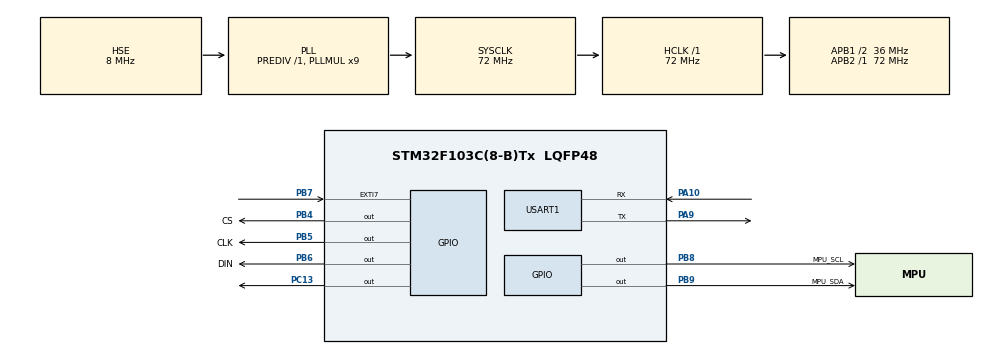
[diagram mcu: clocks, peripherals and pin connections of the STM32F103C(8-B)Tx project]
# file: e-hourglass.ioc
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Mcu.Family=STM32F1
Mcu.Name=STM32F103C(8-B)Tx
Mcu.Package=LQFP48
NVIC.PriorityGroup=NVIC_PRIORITYGROUP_4
PA10.Mode=Asynchronous
PA10.Signal=USART1_RX
PA13.Mode=Serial_Wire
PA13.Signal=SYS_JTMS-SWDIO
PA14.Mode=Serial_Wire
PA14.Signal=SYS_JTCK-SWCLK
PA9.Mode=Asynchronous
PA9.Signal=USART1_TX
PB4.GPIO_Label=CS
PB4.GPIO_Speed=GPIO_SPEED_FREQ_HIGH
PB4.Signal=GPIO_Output
PB5.GPIO_Label=CLK
PB5.GPIO_Speed=GPIO_SPEED_FREQ_HIGH
PB5.Signal=GPIO_Output
PB6.GPIO_Label=DIN
PB6.GPIO_Speed=GPIO_SPEED_FREQ_HIGH
PB6.Signal=GPIO_Output
PB7.Signal=GPXTI7
PB8.GPIO_Label=MPU_SCL
PB8.GPIO_ModeDefaultOutputPP=GPIO_MODE_OUTPUT_OD
PB8.GPIO_PuPd=GPIO_NOPULL
PB8.GPIO_Speed=GPIO_SPEED_FREQ_HIGH
PB8.Signal=GPIO_Output
PB9.GPIO_Label=MPU_SDA
PB9.GPIO_ModeDefaultOutputPP=GPIO_MODE_OUTPUT_OD
PB9.GPIO_PuPd=GPIO_NOPULL
PB9.GPIO_Speed=GPIO_SPEED_FREQ_HIGH
PB9.Signal=GPIO_Output
PC13-TAMPER-RTC.Signal=GPIO_Output
PC14-OSC32_IN.Mode=LSE-External-Oscillator
PC14-OSC32_IN.Signal=RCC_OSC32_IN
PC15-OSC32_OUT.Mode=LSE-External-Oscillator
PC15-OSC32_OUT.Signal=RCC_OSC32_OUT
PD0-OSC_IN.Mode=HSE-External-Oscillator
PD0-OSC_IN.Signal=RCC_OSC_IN
PD1-OSC_OUT.Mode=HSE-External-Oscillator
PD1-OSC_OUT.Signal=RCC_OSC_OUT
ProjectManager.HeapSize=0x200
ProjectManager.StackSize=0x400
ProjectManager.TargetToolchain=MDK-ARM V5.32
RCC.AHBFreq_Value=72000000
RCC.APB1CLKDivider=RCC_HCLK_DIV2
RCC.APB1Freq_Value=36000000
RCC.APB1TimFreq_Value=72000000
RCC.APB2Freq_Value=72000000
RCC.APB2TimFreq_Value=72000000
RCC.HCLKFreq_Value=72000000
RCC.PLLMUL=RCC_PLL_MUL9
RCC.PLLSourceVirtual=RCC_PLLSOURCE_HSE
RCC.SYSCLKFreq_VALUE=72000000
RCC.SYSCLKSource=RCC_SYSCLKSOURCE_PLLCLK
RCC.USBFreq_Value=72000000
USART1.VirtualMode=VM_ASYNC
board=custom

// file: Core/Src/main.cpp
/* USER CODE BEGIN Header */
/**
 ******************************************************************************
 * @file           : main.c
 * @brief          : Main program body
 ******************************************************************************
 * @attention
 *
 * Copyright (c) 2024 STMicroelectronics.
 * All rights reserved.
 *
 * This software is licensed under terms that can be found in the LICENSE file
 * in the root directory of this software component.
 * If no LICENSE file comes with this software, it is provided AS-IS.
 *
 ******************************************************************************
 */
/* USER CODE END Header */
#include "main.h"

/* USER CODE BEGIN Includes */
#include "IIC.h"
#include "inv_mpu.h"
#include "inv_mpu_dmp_motion_driver.h"
#include "mpu6050.h"
#include <stdarg.h>
#include "stdio.h"
#include "8x8led.h"
#include "Animation.hpp"
/* USER CODE END Includes */

/* USER CODE BEGIN PD */
#define MAX_SAND_COUNT 7
/* USER CODE END PD */

UART_HandleTypeDef huart1;

/* USER CODE BEGIN PV */
float pitch, roll, yaw;
short gyrox, gyroy, gyroz;
short aacx, aacy, aacz;

//计数，没记10次就更新一次
int count = 0;
/* USER CODE END PV */

void SystemClock_Config(void);
static void MX_GPIO_Init(void);
static void MX_USART1_UART_Init(void);

int main(void)
{

  /* MCU Configuration--------------------------------------------------------*/

  /* Reset of all peripherals, Initializes the Flash interface and the Systick. */
  HAL_Init();

  /* Configure the system clock */
  SystemClock_Config();

  /* Initialize all configured peripherals */
  MX_GPIO_Init();
  MX_USART1_UART_Init();
  /* USER CODE BEGIN 2 */
  MPU_Init();
  mpu_dmp_init();

  GC7219_INIT();

  // 使用LEDMatrix类构造函数初始化一个对象
  LEDMatrix matrix;
  matrix.clear();

  Sand sands[MAX_SAND_COUNT] = {
      // Sand(0, 0, &matrix),
      // Sand(1, 0, &matrix),
      // Sand(2, 0, &matrix),
      // Sand(3, 0, &matrix),
      // Sand(0, 1, &matrix),
      // Sand(0, 2, &matrix),
      // Sand(0, 3, &matrix),
      Sand(7, 15, &matrix),
      Sand(6, 15, &matrix),
      Sand(5, 15, &matrix),
      Sand(7, 14, &matrix),
      Sand(7, 13, &matrix),
      Sand(7, 12, &matrix),
      Sand(4, 15, &matrix),
    };

  matrix.refresh();

  /* USER CODE END 2 */

  /* Infinite loop */
  /* USER CODE BEGIN WHILE */
  while (1)
  {
    // 欧拉角 前pitch正增 后pitch负增 左roll正增 右roll负增
    mpu_dmp_get_data(&pitch, &roll, &yaw);

    HAL_Delay(100);

    // 如果pitch roll 大于20或小于-20，只要满足一个，就会点亮PC13,否则熄灭
    if (pitch > 20 || pitch < -20 || roll > 20 || roll < -20)
    {
      HAL_GPIO_WritePin(GPIOC, GPIO_PIN_13, GPIO_PIN_RESET);
    }
    else
    {
      HAL_GPIO_WritePin(GPIOC, GPIO_PIN_13, GPIO_PIN_SET);
    }

    count++;
    if (count ==10)
    {
      //在这里更新动画
      // sands[0].moveDown();
      // sands[1].moveLeft();
      for(int i = 0; i < MAX_SAND_COUNT; i++)
      {
        //sands[i].moveUpRight();
        //sands[i].moveUp();
        //sands[i].moveLeft();
        //sands[i].moveRight();
        sands[i].moveUpLeft();
        //sands[i].moveDownRight();
        //sands[i].moveDownLeft();
        //sands[i].moveDown();
        sands[i].updatePosition();
      }
      matrix.refresh();
      count = 0;
    }

    /* USER CODE END WHILE */

  }
}

void SystemClock_Config(void)
{
  RCC_OscInitTypeDef RCC_OscInitStruct = {0};
  RCC_ClkInitTypeDef RCC_ClkInitStruct = {0};

  /** Initializes the RCC Oscillators according to the specified parameters
   * in the RCC_OscInitTypeDef structure.
   */
  RCC_OscInitStruct.OscillatorType = RCC_OSCILLATORTYPE_HSE;
  RCC_OscInitStruct.HSEState = RCC_HSE_ON;
  RCC_OscInitStruct.HSEPredivValue = RCC_HSE_PREDIV_DIV1;
  RCC_OscInitStruct.HSIState = RCC_HSI_ON;
  RCC_OscInitStruct.PLL.PLLState = RCC_PLL_ON;
  RCC_OscInitStruct.PLL.PLLSource = RCC_PLLSOURCE_HSE;
  RCC_OscInitStruct.PLL.PLLMUL = RCC_PLL_MUL9;
  if (HAL_RCC_OscConfig(&RCC_OscInitStruct) != HAL_OK)
  {
    Error_Handler();
  }

  /** Initializes the CPU, AHB and APB buses clocks
   */
  RCC_ClkInitStruct.ClockType = RCC_CLOCKTYPE_HCLK | RCC_CLOCKTYPE_SYSCLK | RCC_CLOCKTYPE_PCLK1 | RCC_CLOCKTYPE_PCLK2;
  RCC_ClkInitStruct.SYSCLKSource = RCC_SYSCLKSOURCE_PLLCLK;
  RCC_ClkInitStruct.AHBCLKDivider = RCC_SYSCLK_DIV1;
  RCC_ClkInitStruct.APB1CLKDivider = RCC_HCLK_DIV2;
  RCC_ClkInitStruct.APB2CLKDivider = RCC_HCLK_DIV1;

  if (HAL_RCC_ClockConfig(&RCC_ClkInitStruct, FLASH_LATENCY_2) != HAL_OK)
  {
    Error_Handler();
  }
}

static void MX_USART1_UART_Init(void)
{

  huart1.Instance = USART1;
  huart1.Init.BaudRate = 115200;
  huart1.Init.WordLength = UART_WORDLENGTH_8B;
  huart1.Init.StopBits = UART_STOPBITS_1;
  huart1.Init.Parity = UART_PARITY_NONE;
  huart1.Init.Mode = UART_MODE_TX_RX;
  huart1.Init.HwFlowCtl = UART_HWCONTROL_NONE;
  huart1.Init.OverSampling = UART_OVERSAMPLING_16;
  if (HAL_UART_Init(&huart1) != HAL_OK)
  {
    Error_Handler();
  }
}

static void MX_GPIO_Init(void)
{
  GPIO_InitTypeDef GPIO_InitStruct = {0};

  /* GPIO Ports Clock Enable */
  __HAL_RCC_GPIOC_CLK_ENABLE();
  __HAL_RCC_GPIOD_CLK_ENABLE();
  __HAL_RCC_GPIOA_CLK_ENABLE();
  __HAL_RCC_GPIOB_CLK_ENABLE();

  /*Configure GPIO pin Output Level */
  HAL_GPIO_WritePin(GPIOC, GPIO_PIN_13, GPIO_PIN_RESET);

  /*Configure GPIO pin Output Level */
  HAL_GPIO_WritePin(GPIOB, CS_Pin | CLK_Pin | DIN_Pin | MPU_SCL_Pin | MPU_SDA_Pin, GPIO_PIN_RESET);

  /*Configure GPIO pin : PC13 */
  GPIO_InitStruct.Pin = GPIO_PIN_13;
  GPIO_InitStruct.Mode = GPIO_MODE_OUTPUT_PP;
  GPIO_InitStruct.Pull = GPIO_NOPULL;
  GPIO_InitStruct.Speed = GPIO_SPEED_FREQ_LOW;
  HAL_GPIO_Init(GPIOC, &GPIO_InitStruct);

  /*Configure GPIO pins : CS_Pin CLK_Pin DIN_Pin */
  GPIO_InitStruct.Pin = CS_Pin | CLK_Pin | DIN_Pin;
  GPIO_InitStruct.Mode = GPIO_MODE_OUTPUT_PP;
  GPIO_InitStruct.Pull = GPIO_NOPULL;
  GPIO_InitStruct.Speed = GPIO_SPEED_FREQ_HIGH;
  HAL_GPIO_Init(GPIOB, &GPIO_InitStruct);

  /*Configure GPIO pin : PB7 */
  GPIO_InitStruct.Pin = GPIO_PIN_7;
  GPIO_InitStruct.Mode = GPIO_MODE_IT_RISING;
  GPIO_InitStruct.Pull = GPIO_NOPULL;
  HAL_GPIO_Init(GPIOB, &GPIO_InitStruct);

  /*Configure GPIO pins : MPU_SCL_Pin MPU_SDA_Pin */
  GPIO_InitStruct.Pin = MPU_SCL_Pin | MPU_SDA_Pin;
  GPIO_InitStruct.Mode = GPIO_MODE_OUTPUT_OD;
  GPIO_InitStruct.Pull = GPIO_NOPULL;
  GPIO_InitStruct.Speed = GPIO_SPEED_FREQ_HIGH;
  HAL_GPIO_Init(GPIOB, &GPIO_InitStruct);

}

void Error_Handler(void)
{
  __disable_irq();
  while (1)
  {
  }
}
